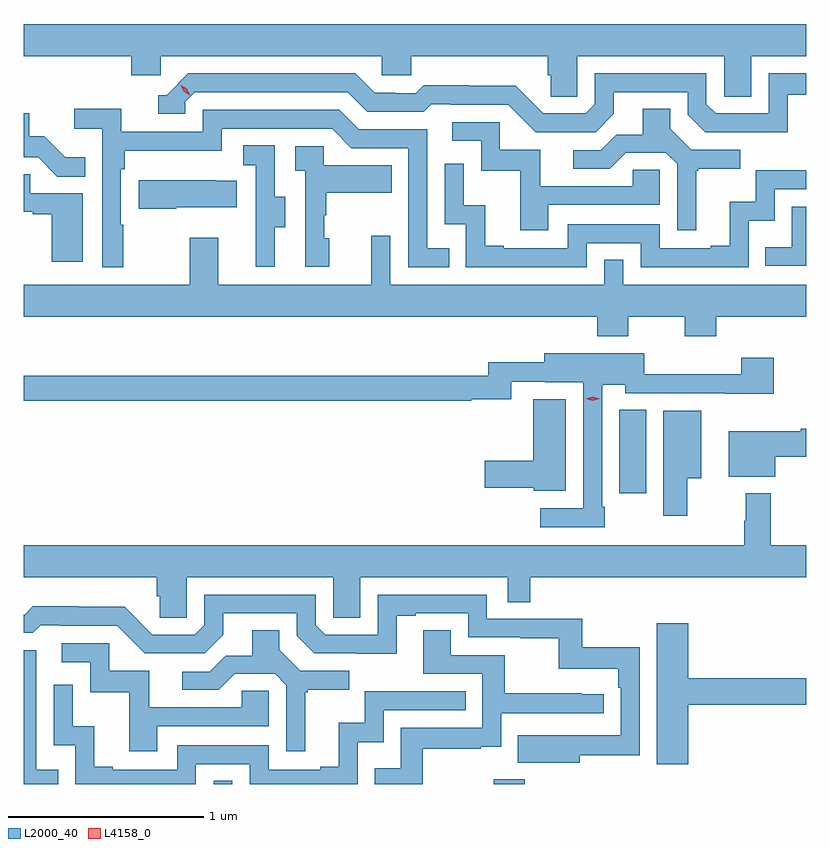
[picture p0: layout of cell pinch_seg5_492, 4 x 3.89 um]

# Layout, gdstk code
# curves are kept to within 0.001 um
import gdstk
lib = gdstk.Library(unit=1e-6, precision=1e-09)
def R(c, l, rs):  # rectangles x0, y0, x1, y1
    for r in rs: c.add(gdstk.rectangle(r[:2], r[2:], *l))
def P(c, l, *ps):  # polygons
    for p in ps: c.add(gdstk.Polygon(p, *l))
L2000_40 = (2000, 40)
L4158_0 = (4158, 0)

pinch_seg5_492 = lib.new_cell('pinch_seg5_492')
R(pinch_seg5_492, L2000_40, [(904.542,841.051,904.638,841.067), (905.974,841.051,906.134,841.075), (906.617,842.538,906.754,842.963)])
P(pinch_seg5_492, L2000_40, [(906.402,844.772),(907.152,844.772),(907.152,844.564),(907.291,844.564),(907.291,844.772),(907.572,844.772),(907.572,844.936),(903.572,844.936),(903.572,844.772),(904.121,844.772),(904.121,844.674),(904.272,844.674),(904.272,844.772),(905.403,844.772),(905.403,844.674),(905.553,844.674),(905.553,844.772),(906.251,844.772),(906.251,844.674),(906.265,844.674),(906.265,844.564),(906.402,844.564)],
  [(907.477,844.575),(907.572,844.575),(907.572,844.683),(907.38,844.683),(907.38,844.479),(907.11,844.479),(907.062,844.527),(907.062,844.683),(906.492,844.683),(906.492,844.527),(906.444,844.479),(906.228,844.479),(906.086,844.621),(905.85,844.621),(905.85,844.624),(905.617,844.624),(905.575,844.581),(905.472,844.581),(905.472,844.584),(905.365,844.584),(905.266,844.683),(904.413,844.683),(904.302,844.572),(904.259,844.572),(904.259,844.476),(904.398,844.476),(904.398,844.539),(904.446,844.587),(905.229,844.587),(905.328,844.488),(905.617,844.488),(905.656,844.527),(905.755,844.527),(905.755,844.524),(906.048,844.524),(906.189,844.383),(906.495,844.383),(906.589,844.477),(906.589,844.587),(906.966,844.587),(906.966,844.473),(907.056,844.383),(907.477,844.382)],
  [(904.081,843.911),(904.068,843.911),(904.068,844.193),(904.088,844.193),(904.088,844.289),(904.584,844.289),(904.584,844.401),(905.148,844.401),(905.247,844.302),(905.538,844.302),(905.538,843.693),(905.747,843.693),(905.747,843.789),(905.634,843.789),(905.634,844.398),(905.284,844.398),(905.185,844.497),(904.488,844.497),(904.488,844.386),(904.07,844.386),(904.07,844.502),(903.831,844.502),(903.831,844.4),(903.972,844.4),(903.972,843.693),(904.081,843.693)],
  [(907.009,844.185),(907.021,844.185),(907.021,844.196),(907.234,844.196),(907.234,844.293),(906.984,844.293),(906.877,844.4),(906.877,844.502),(906.737,844.502),(906.737,844.37),(906.602,844.37),(906.522,844.29),(906.381,844.29),(906.381,844.197),(906.568,844.197),(906.649,844.278),(906.855,844.278),(906.912,844.221),(906.912,843.882),(907.009,843.882)],
  [(903.887,844.255),(903.783,844.255),(903.676,844.362),(903.6,844.362),(903.6,844.479),(903.572,844.479),(903.572,844.254),(903.645,844.254),(903.743,844.156),(903.887,844.156)],
  [(906.253,844.011),(906.822,844.011),(906.822,844.191),(906.685,844.191),(906.685,844.107),(906.211,844.107),(906.211,844.293),(906.006,844.293),(906.006,844.434),(905.763,844.434),(905.763,844.338),(905.91,844.338),(905.91,844.185),(906.109,844.185),(906.109,843.882),(906.253,843.882)],
  [(904.855,843.898),(904.909,843.898),(904.909,844.053),(904.854,844.053),(904.854,844.316),(904.695,844.316),(904.695,844.213),(904.758,844.213),(904.758,843.909),(904.757,843.909),(904.757,843.696),(904.855,843.696)],
  [(905.134,843.84),(905.109,843.84),(905.109,843.959),(905.119,843.959),(905.119,844.073),(905.453,844.073),(905.453,844.213),(905.106,844.213),(905.106,844.311),(904.959,844.311),(904.959,844.187),(905.01,844.187),(905.01,843.696),(905.134,843.696)],
  [(906.45,843.816),(906.726,843.816),(906.726,843.693),(907.278,843.693),(907.278,843.929),(907.41,843.929),(907.41,844.092),(907.572,844.092),(907.572,844.188),(907.314,844.188),(907.314,844.027),(907.181,844.027),(907.181,843.802),(907.085,843.802),(907.085,843.789),(906.822,843.789),(906.822,843.912),(906.354,843.912),(906.354,843.789),(906.025,843.789),(906.025,843.802),(905.93,843.802),(905.93,844.01),(905.82,844.01),(905.82,844.222),(905.724,844.222),(905.724,843.912),(905.832,843.912),(905.832,843.693),(906.45,843.693)],
  [(903.874,844.071),(903.605,844.071),(903.605,844.169),(903.572,844.169),(903.572,843.975),(903.617,843.975),(903.617,843.963),(903.716,843.963),(903.716,843.72),(903.874,843.72)],
  [(904.351,843.998),(904.661,843.998),(904.661,844.135),(904.553,844.135),(904.553,844.138),(904.16,844.138),(904.16,843.991),(904.351,843.991)],
  [(907.572,844.002),(907.498,844.002),(907.498,843.796),(907.363,843.796),(907.363,843.699),(907.572,843.699)],
  [(904.42,843.844),(904.42,843.604),(903.572,843.604),(903.572,843.44),(906.503,843.44),(906.503,843.341),(906.663,843.341),(906.663,843.44),(906.952,843.44),(906.952,843.341),(907.112,843.341),(907.112,843.44),(907.572,843.44),(907.572,843.604),(906.636,843.604),(906.636,843.731),(906.54,843.731),(906.54,843.604),(905.445,843.604),(905.445,843.853),(905.348,843.853),(905.348,843.604),(904.567,843.604),(904.567,843.844)],
  [(906.541,842.467),(906.528,842.467),(906.528,843.092),(906.648,843.092),(906.648,843.048),(907.157,843.048),(907.157,843.047),(907.406,843.047),(907.406,843.229),(907.241,843.229),(907.241,843.146),(906.744,843.146),(906.744,843.253),(906.233,843.253),(906.233,843.207),(905.947,843.207),(905.947,843.139),(903.572,843.139),(903.572,843.01),(905.86,843.01),(905.86,843.018),(906.063,843.018),(906.063,843.108),(906.237,843.108),(906.237,843.104),(906.432,843.104),(906.432,842.46),(906.213,842.46),(906.213,842.364),(906.541,842.364)],
  [(906.343,843.019),(906.176,843.019),(906.176,842.703),(905.928,842.703),(905.928,842.566),(906.18,842.566),(906.18,842.549),(906.343,842.549)],
  [(906.964,842.615),(907.036,842.615),(907.036,842.959),(906.842,842.959),(906.842,842.421),(906.964,842.421)],
  [(907.414,842.725),(907.572,842.725),(907.572,842.867),(907.544,842.867),(907.544,842.854),(907.175,842.854),(907.175,842.621),(907.414,842.621)],
  [(904.404,842.108),(905.154,842.108),(905.154,841.9),(905.293,841.9),(905.293,842.108),(906.045,842.108),(906.045,841.981),(906.161,841.981),(906.161,842.108),(907.572,842.108),(907.572,842.272),(907.391,842.272),(907.391,842.536),(907.263,842.536),(907.263,842.396),(907.255,842.396),(907.255,842.272),(903.572,842.272),(903.572,842.108),(904.253,842.108),(904.253,842.01),(904.267,842.01),(904.267,841.9),(904.404,841.9)],
  [(906.415,841.198),(906.72,841.198),(906.72,841.75),(906.427,841.75),(906.427,841.896),(905.94,841.896),(905.94,842.019),(905.382,842.019),(905.382,841.815),(905.112,841.815),(905.064,841.863),(905.064,842.019),(904.494,842.019),(904.494,841.863),(904.446,841.815),(904.23,841.815),(904.088,841.957),(903.852,841.957),(903.852,841.96),(903.619,841.96),(903.577,841.917),(903.572,841.917),(903.572,841.824),(903.619,841.824),(903.658,841.863),(903.757,841.863),(903.757,841.86),(904.05,841.86),(904.191,841.719),(904.497,841.719),(904.591,841.813),(904.591,841.923),(904.968,841.923),(904.968,841.809),(905.058,841.719),(905.479,841.718),(905.479,841.911),(905.575,841.911),(905.575,841.923),(905.844,841.923),(905.844,841.8),(906.109,841.8),(906.109,841.795),(906.306,841.795),(906.306,841.64),(906.611,841.64),(906.611,841.544),(906.624,841.544),(906.624,841.299),(906.097,841.3),(906.097,841.16),(906.415,841.16)],
  [(906.97,841.456),(907.572,841.456),(907.572,841.592),(906.97,841.592),(906.97,841.873),(906.809,841.873),(906.809,841.152),(906.97,841.152)],
  [(905.011,841.521),(905.023,841.521),(905.023,841.532),(905.236,841.532),(905.236,841.629),(904.986,841.629),(904.879,841.736),(904.879,841.838),(904.739,841.838),(904.739,841.706),(904.604,841.706),(904.524,841.626),(904.383,841.626),(904.383,841.533),(904.57,841.533),(904.651,841.614),(904.857,841.614),(904.914,841.557),(904.914,841.218),(905.011,841.218)],
  [(905.611,841.23),(905.909,841.23),(905.909,841.241),(906.012,841.241),(906.012,841.413),(906.538,841.413),(906.538,841.509),(906.425,841.509),(906.425,841.514),(906.032,841.514),(906.032,841.71),(905.755,841.71),(905.755,841.838),(905.615,841.838),(905.615,841.614),(905.916,841.614),(905.916,841.338),(905.5,841.338),(905.5,841.132),(905.365,841.132),(905.365,841.051),(905.611,841.051)],
  [(904.255,841.347),(904.824,841.347),(904.824,841.527),(904.687,841.527),(904.687,841.443),(904.213,841.443),(904.213,841.629),(904.008,841.629),(904.008,841.77),(903.765,841.77),(903.765,841.674),(903.912,841.674),(903.912,841.521),(904.111,841.521),(904.111,841.218),(904.255,841.218)],
  [(903.749,841.125),(903.636,841.125),(903.636,841.734),(903.572,841.734),(903.572,841.051),(903.749,841.051)],
  [(904.452,841.152),(904.728,841.152),(904.728,841.051),(905.28,841.051),(905.28,841.265),(905.412,841.265),(905.412,841.428),(905.831,841.428),(905.831,841.524),(905.316,841.524),(905.316,841.363),(905.183,841.363),(905.183,841.138),(905.087,841.138),(905.087,841.125),(904.824,841.125),(904.824,841.248),(904.356,841.248),(904.356,841.125),(904.027,841.125),(904.027,841.138),(903.932,841.138),(903.932,841.346),(903.822,841.346),(903.822,841.558),(903.726,841.558),(903.726,841.248),(903.834,841.248),(903.834,841.051),(904.452,841.051)])
P(pinch_seg5_492, L4158_0, [(906.48,843.01),(906.446,843.02),(906.445,843.021),(906.446,843.021),(906.48,843.03),(906.515,843.02),(906.516,843.02),(906.515,843.02)],
  [(904.42,844.571),(904.39,844.591),(904.374,844.624),(904.374,844.624),(904.374,844.624),(904.405,844.605),(904.421,844.572),(904.421,844.571)])

lib.write_gds('pinch_seg5_492.gds')
